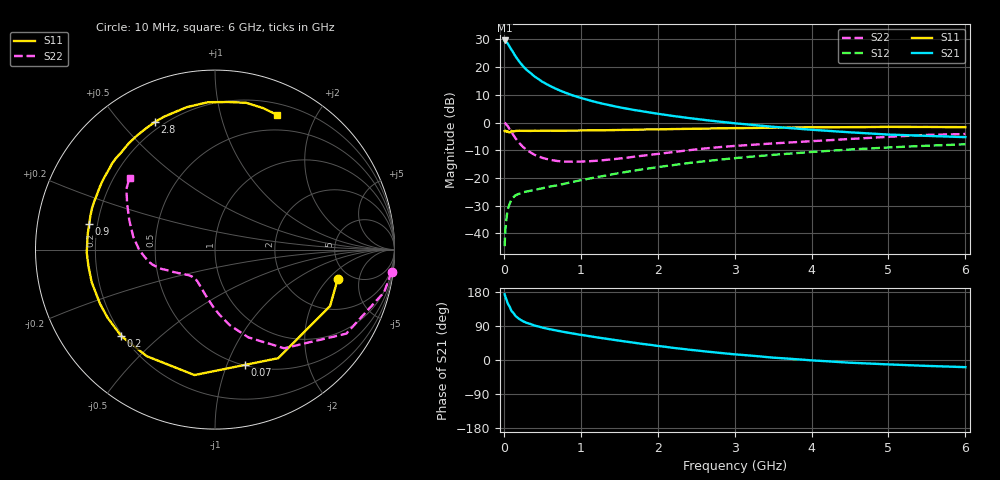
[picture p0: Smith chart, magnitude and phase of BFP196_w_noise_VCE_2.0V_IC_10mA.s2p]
! Infineon Technologies  Discrete & RF Semiconductors
! BFP196
! VCE =  2.0 V,  IC =  10 mA
! Common Emitter S-Parameters:  Jan 2017
# GHz  S  MA  R  50
!  f  S11  S21  S12  S22
! GHz  MAG  ANG  MAG  ANG  MAG  ANG  MAG  ANG
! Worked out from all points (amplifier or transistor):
!   77 points, 10 MHz to 6 GHz, reference 50 ohm
!   highest |S21| = 29.6 dB at 10 MHz (marker M1)
!   |S21| within 3 dB of that: start of sweep to 91.38 MHz
!   unconditionally stable (mu >= 1): 962.2 MHz to 2.481 GHz
!   at 130 MHz: K = 0.24, MSG = 25.8 dB, |S12| = -26.8 dB
!   at 2.2 GHz: K = 1.03, MAG = 7.8 dB, |S12| = -15.4 dB
!   at 6 GHz: K = 0.95, MSG = 1.3 dB, |S12| = -7.8 dB
!   lowest NFmin = 0.99 dB at 450 MHz
!   S11 on the Smith chart (normalised r, x): 10 MHz: 4.02, -2.57; 70 MHz: 0.50, -1.16; 200 MHz: 0.19, -0.38; 900 MHz: 0.17, +0.10; 2.8 GHz: 0.17, +0.62; 6 GHz: 0.32, +1.52
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0.01  0.7031 -13.3  30.2 173.5  0.0059 84.5  0.9924 -7.1
0.02  0.7141 -26.1  30.18 167.0  0.0117 78.7  0.9717 -14.1
0.05  0.7001 -59.8  26.72 149.5  0.0268 63.0  0.8687 -32.6
0.07  0.6636 -75.6  23.9 142.6  0.0325 55.7  0.7762 -40.2
0.1  0.7083 -99.3  20.53 129.1  0.0416 48.6  0.6711 -55.0
0.15  0.7051 -122.6  15.75 116.6  0.0486 39.8  0.5231 -69.2
0.2  0.7107 -137.3  12.58 108.3  0.052 36.0  0.4278 -79.1
0.25  0.7086 -147.6  10.37 102.1  0.0553 34.7  0.3623 -86.2
0.3  0.7083 -154.7  8.795 97.8  0.0572 34.4  0.3171 -92.1
0.4  0.7106 -165.2  6.745 90.8  0.0609 35.2  0.2613 -101.3
0.5  0.7112 -172.7  5.438 85.6  0.0653 37.2  0.2308 -108.4
0.6  0.7147 -178.6  4.572 81.1  0.0701 38.9  0.2129 -114.4
0.7  0.7129 176.7  3.928 77.2  0.0739 41.3  0.202 -119.0
0.9  0.7154 168.5  3.069 69.8  0.0853 44.5  0.1969 -126.7
1.1  0.723 161.3  2.54 63.3  0.0968 46.7  0.2004 -132.8
1.5  0.7342 148.8  1.888 51.1  0.1226 48.5  0.2241 -143.2
2.1  0.7564 131.7  1.376 34.8  0.1639 46.9  0.2823 -155.3
2.8  0.7862 115.1  1.039 18.9  0.2136 41.6  0.3599 -166.8
3.1  0.7945 108.9  0.942 13.4  0.2344 38.6  0.3864 -172.3
4.1  0.8216 91.1  0.726 -2.1  0.3007 28.0  0.4693 168.7
5.1  0.8346 76.7  0.6 -12.4  0.3604 16.2  0.5619 150.8
6  0.8268 65.2  0.545 -18.9  0.4055 5.7  0.6215 140.0
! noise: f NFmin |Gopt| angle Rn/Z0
0.45  0.99  0.35  147  0.06
0.9  1.29  0.5  174  0.05
1.9  2.4  0.7  -139  0.25
2.4  2.9  0.73  -123  0.68
